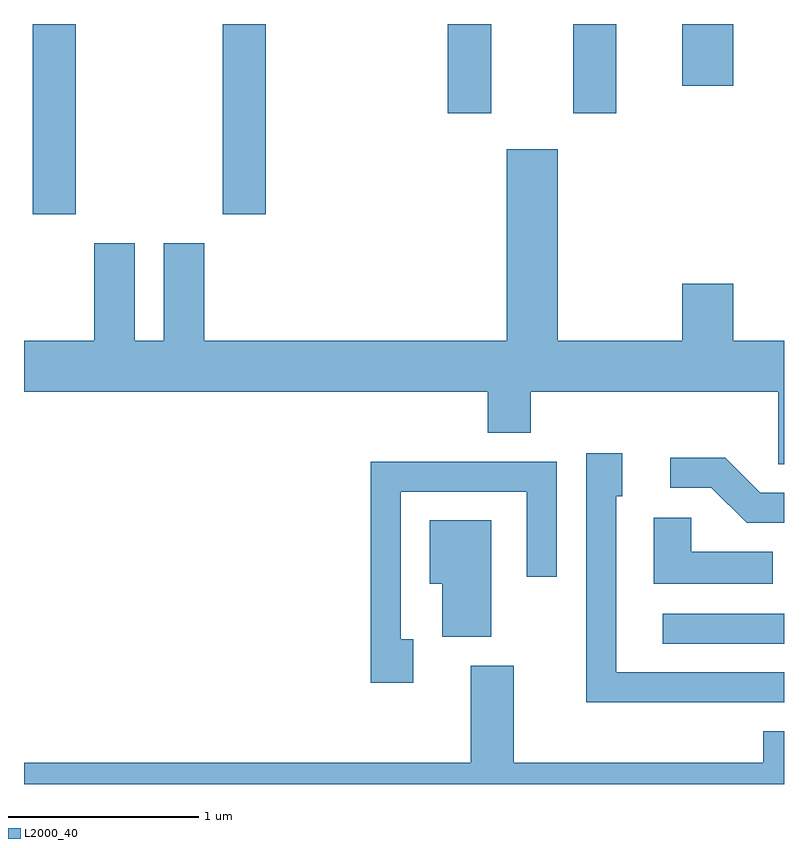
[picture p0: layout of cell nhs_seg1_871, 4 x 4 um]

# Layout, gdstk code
import gdstk
lib = gdstk.Library(unit=1e-6, precision=1e-09)
def R(c, l, rs):  # rectangles x0, y0, x1, y1
    for r in rs: c.add(gdstk.rectangle(r[:2], r[2:], *l))
def P(c, l, *ps):  # polygons
    for p in ps: c.add(gdstk.Polygon(p, *l))
L2000_40 = (2000, 40)

nhs_seg1_871 = lib.new_cell('nhs_seg1_871')
R(nhs_seg1_871, L2000_40, [(214.973,920.451,215.611,920.609), (211.656,922.711,211.884,923.712), (212.656,922.711,212.884,923.712), (213.841,923.241,214.069,923.712), (214.501,923.241,214.729,923.712), (215.076,923.386,215.344,923.712)])
P(nhs_seg1_871, L2000_40, [(215.611,922.044),(215.344,922.044),(215.344,922.344),(215.076,922.344),(215.076,922.044),(214.419,922.044),(214.419,923.054),(214.151,923.054),(214.151,922.044),(212.559,922.044),(212.559,922.559),(212.346,922.559),(212.346,922.044),(212.194,922.044),(212.194,922.559),(211.981,922.559),(211.981,922.044),(211.611,922.044),(211.611,921.776),(214.051,921.776),(214.051,921.561),(214.279,921.561),(214.279,921.776),(215.581,921.776),(215.581,921.396),(215.611,921.396)],
  [(215.611,920.299),(214.729,920.299),(214.729,921.226),(214.759,921.226),(214.759,921.454),(214.571,921.454),(214.571,920.141),(215.611,920.141)],
  [(215.611,921.244),(215.487,921.244),(215.302,921.429),(215.013,921.429),(215.013,921.271),(215.229,921.271),(215.414,921.086),(215.611,921.086)],
  [(213.659,920.474),(213.594,920.474),(213.594,921.251),(214.256,921.251),(214.256,920.803),(214.414,920.803),(214.414,921.409),(213.436,921.409),(213.436,920.246),(213.659,920.246)],
  [(215.553,920.934),(215.124,920.934),(215.124,921.114),(214.926,921.114),(214.926,920.766),(215.553,920.766)],
  [(214.069,921.099),(213.746,921.099),(213.746,920.766),(213.811,920.766),(213.811,920.486),(214.069,920.486)],
  [(215.611,919.989),(215.501,919.989),(215.501,919.824),(214.189,919.824),(214.189,920.334),(213.961,920.334),(213.961,919.824),(211.611,919.824),(211.611,919.712),(215.611,919.712)])

lib.write_gds('nhs_seg1_871.gds')
